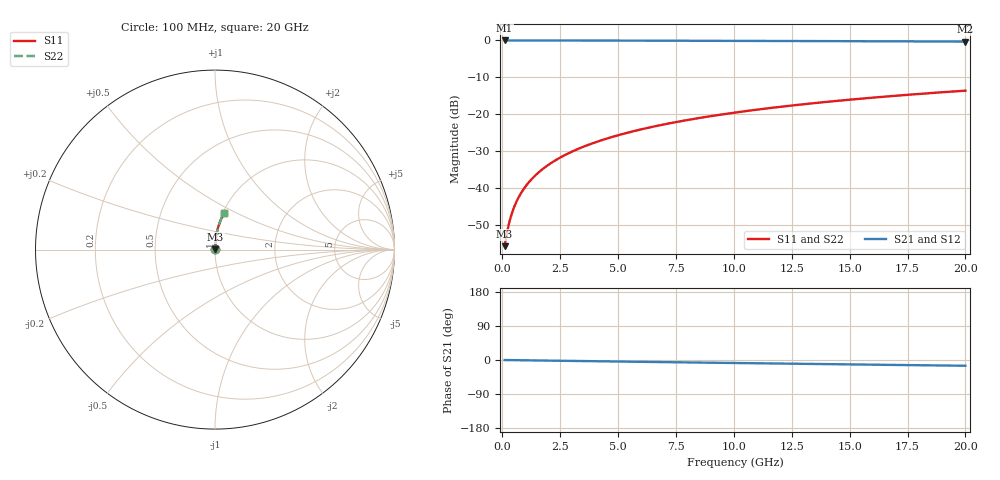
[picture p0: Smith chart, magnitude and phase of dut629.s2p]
! Touchstone file exported from HFSS 2024.1.0
!  File:  C:/UserFiles/LocalFiles/RDL_TSV_Batchsim/temp_RDL_top_629_1779780523.aedt
!  Generated:  03:30:38 PM May 26, 2026
!  Design:  RDL_top
!  Project:  temp_RDL_top_629_1779780523
!  Setup:  Setup1
!  Solution:  Sweep
! Variables:
!  dtsv = 10.80580581um
!  hbump = 3um
!  htsv = 53.59um
!  ldown = 100um
!  lrdl = 144.03um
!  p = 40
!  p1 = 54.54um
!  rhole = 1um
!  t = 450um
!  tdown = 3.915915916um
!  trdl = 3.73um
!  wdown = 15.38538539um
!  wrdl = 12.77um
# GHz S MA R 50.000000
! Terminal data exported
! Port[1] = Box2_T1
! Port[2] = Box2_T2
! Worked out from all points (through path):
!   200 points, 100 MHz to 20 GHz, reference 50 ohm
!   highest |S21| = -0.01 dB at 100 MHz (marker M1); lowest = -0.3 dB at 20 GHz (marker M2)
!   group delay of S21, straight-line fit = 2.1 ps
!   lowest |S11| = -55.8 dB at 100 MHz (marker M3), VSWR 1.00, Z = 50.1 + j0.106 ohm
!   |S11| at or under -10 dB: start of sweep to end of sweep
!   |S22| runs from -55.8 to -13.6 dB; largest |S21 - S12| = 2.1e-15
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0.1  0.001621 40.8  0.9988 -0.1  0.9988 -0.1  0.001621 40.8
! Gamma 0 0 0 0
! Port Impedance 50 0 50 0
0.2  0.002453 59.4  0.9987 -0.2  0.9987 -0.2  0.002453 59.4
0.3  0.003402 68.0  0.9987 -0.3  0.9987 -0.3  0.003402 68.0
0.4  0.004387 72.7  0.9987 -0.3  0.9987 -0.3  0.004387 72.7
0.5  0.005383 75.7  0.9986 -0.4  0.9986 -0.4  0.005383 75.7
0.6  0.006386 77.7  0.9986 -0.5  0.9986 -0.5  0.006386 77.7
0.8  0.008401 80.4  0.9985 -0.7  0.9985 -0.7  0.008401 80.4
1.1  0.01144 82.6  0.9984 -0.9  0.9984 -0.9  0.01144 82.6
1.5  0.01552 84.2  0.9982 -1.2  0.9982 -1.2  0.01552 84.2
1.8  0.01859 84.9  0.998 -1.5  0.998 -1.5  0.01859 84.9
2.1  0.02167 85.3  0.9978 -1.7  0.9978 -1.7  0.02167 85.3
2.7  0.02784 85.9  0.9974 -2.2  0.9974 -2.2  0.02784 85.8
3.5  0.03612 86.1  0.9966 -2.9  0.9966 -2.9  0.03612 86.1
4.2  0.04339 86.1  0.9958 -3.4  0.9958 -3.4  0.04339 86.1
5  0.05175 85.9  0.9947 -4.1  0.9947 -4.1  0.05175 85.9
5.9  0.0612 85.6  0.9934 -4.8  0.9934 -4.8  0.0612 85.6
6.8  0.07068 85.2  0.9919 -5.5  0.9919 -5.5  0.07068 85.2
8.3  0.08655 84.4  0.9894 -6.6  0.9894 -6.6  0.08655 84.4
10.1  0.1056 83.3  0.9861 -8.0  0.9861 -8.0  0.1056 83.3
13.4  0.1404 81.0  0.9794 -10.4  0.9794 -10.4  0.1404 81.0
16.7  0.1747 78.6  0.9721 -12.8  0.9721 -12.8  0.1747 78.6
20  0.2083 76.2  0.9642 -15.2  0.9642 -15.2  0.2083 76.2
